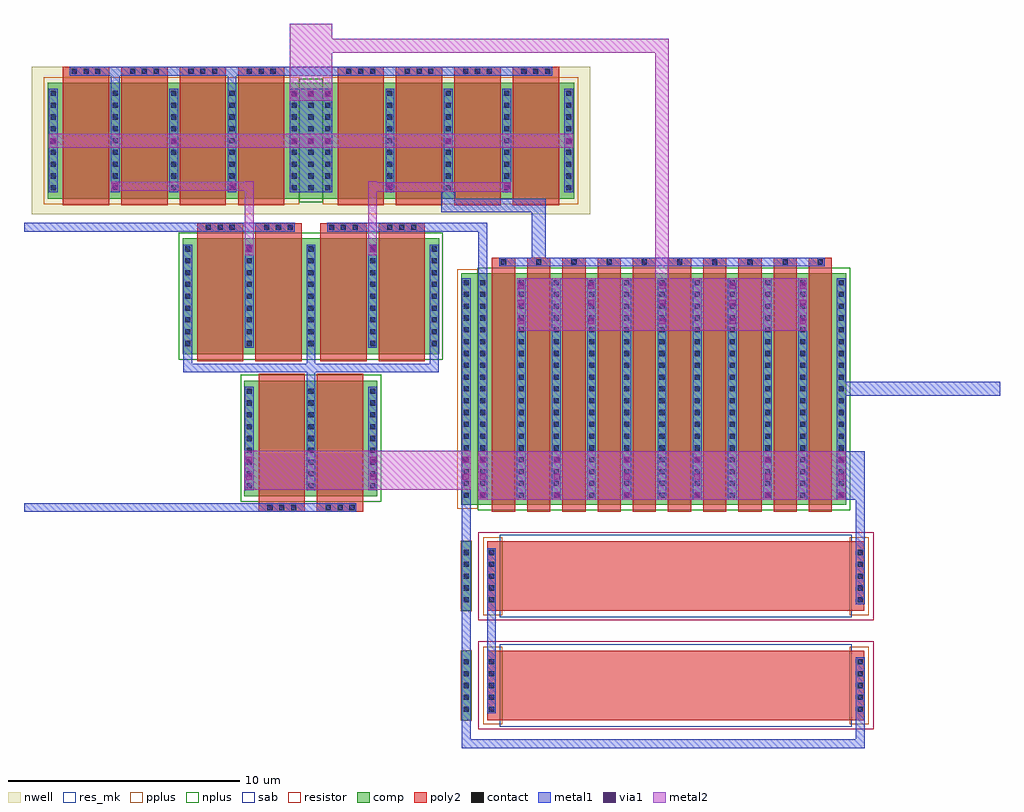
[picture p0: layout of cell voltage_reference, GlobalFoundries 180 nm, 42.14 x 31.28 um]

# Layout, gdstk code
from math import pi, radians
import gdstk
lib = gdstk.Library(unit=1e-6, precision=5e-09)
def R(c, l, rs):  # rectangles x0, y0, x1, y1
    for r in rs: c.add(gdstk.rectangle(r[:2], r[2:], *l))
def A(c, l, x, y, w, h, nx, ny, dx, dy):  # array of equal rectangles
    R(c, l, [(x+i*dx, y+j*dy, x+i*dx+w, y+j*dy+h) for i in range(nx) for j in range(ny)])
nwell = (21, 0)
comp = (22, 0)
poly2 = (30, 0)
pplus = (31, 0)
nplus = (32, 0)
contact = (33, 0)
metal1 = (34, 0)
via1 = (35, 0)
metal2 = (36, 0)
sab = (49, 0)
resistor = (62, 0)
res_mk = (110, 5)

nfet = lib.new_cell('nfet')
R(nfet, comp, [(-0.42,0,0,5), (0,0,4.9,5), (4.9,0,5.32,5)])
R(nfet, poly2, [(0.19,-0.3,2.19,5.3), (2.71,-0.3,4.71,5.3), (0.19,5.3,2.19,5.66), (2.71,5.3,4.71,5.66)])
R(nfet, nplus, [(-0.59,-0.24,5.49,5.24)])
A(nfet, contact, -0.32, 0.35, 0.22, 0.22, 3, 9, 2.66, 0.51)
A(nfet, contact, 0.57, 5.37, 0.22, 0.22, 3, 1, 0.51, 0)
A(nfet, contact, 3.09, 5.37, 0.22, 0.22, 3, 1, 0.51, 0)
A(nfet, metal1, -0.4, 0.27, 0.38, 4.46, 3, 1, 2.66, 0)
R(nfet, metal1, [(0.49,5.29,1.89,5.67), (3.01,5.29,4.41,5.67)])

pfet = lib.new_cell('pfet')
R(pfet, nwell, [(-1.15,-0.69,11.82,5.69)])
R(pfet, comp, [(-0.46,0,0,5), (0,0,9.94,5), (9.94,0,10.4,5), (10.4,0,11.13,5)])
A(pfet, poly2, 0.19, -0.3, 2, 5.6, 4, 1, 2.52, 0)
A(pfet, poly2, 0.19, 5.3, 2, 0.38, 4, 1, 2.52, 0)
R(pfet, pplus, [(-0.63,-0.24,10.4,5.24)])
R(pfet, nplus, [(10.4,-0.17,11.3,5.17)])
A(pfet, contact, -0.34, 0.35, 0.22, 0.22, 1, 9, 0, 0.51)
A(pfet, contact, 2.34, 0.35, 0.22, 0.22, 3, 9, 2.52, 0.51)
A(pfet, contact, 10.06, 0.35, 0.22, 0.22, 1, 9, 0, 0.51)
A(pfet, contact, 10.79, 0.35, 0.22, 0.22, 1, 9, 0, 0.51)
A(pfet, contact, 0.57, 5.38, 0.22, 0.22, 3, 1, 0.51, 0)
A(pfet, contact, 3.09, 5.38, 0.22, 0.22, 3, 1, 0.51, 0)
A(pfet, contact, 5.61, 5.38, 0.22, 0.22, 3, 1, 0.51, 0)
A(pfet, contact, 8.13, 5.38, 0.22, 0.22, 3, 1, 0.51, 0)
A(pfet, metal1, 2.26, 0.27, 0.38, 4.46, 3, 1, 2.52, 0)
A(pfet, metal1, 0.49, 5.3, 1.4, 0.38, 4, 1, 2.52, 0)
R(pfet, metal1, [(-0.42,0.27,-0.04,4.73), (9.98,0.27,10.36,4.73), (10.71,0.27,11.09,4.73)])

pfet_1 = lib.new_cell('pfet$1')
R(pfet_1, nwell, [(-1.15,-0.69,11.82,5.69)])
R(pfet_1, comp, [(-0.46,0,0,5), (0,0,9.94,5), (9.94,0,10.4,5), (10.4,0,11.13,5)])
A(pfet_1, poly2, 0.19, -0.68, 2, 0.38, 4, 1, 2.52, 0)
A(pfet_1, poly2, 0.19, -0.3, 2, 5.6, 4, 1, 2.52, 0)
R(pfet_1, pplus, [(-0.63,-0.24,10.4,5.24)])
R(pfet_1, nplus, [(10.4,-0.17,11.3,5.17)])
A(pfet_1, contact, 0.57, -0.6, 0.22, 0.22, 3, 1, 0.51, 0)
A(pfet_1, contact, 3.09, -0.6, 0.22, 0.22, 3, 1, 0.51, 0)
A(pfet_1, contact, 5.61, -0.6, 0.22, 0.22, 3, 1, 0.51, 0)
A(pfet_1, contact, 8.13, -0.6, 0.22, 0.22, 3, 1, 0.51, 0)
A(pfet_1, contact, -0.34, 0.35, 0.22, 0.22, 1, 9, 0, 0.51)
A(pfet_1, contact, 2.34, 0.35, 0.22, 0.22, 3, 9, 2.52, 0.51)
A(pfet_1, contact, 10.06, 0.35, 0.22, 0.22, 1, 9, 0, 0.51)
A(pfet_1, contact, 10.79, 0.35, 0.22, 0.22, 1, 9, 0, 0.51)
A(pfet_1, metal1, 0.49, -0.68, 1.4, 0.38, 4, 1, 2.52, 0)
A(pfet_1, metal1, 2.26, 0.27, 0.38, 4.46, 3, 1, 2.52, 0)
R(pfet_1, metal1, [(-0.42,0.27,-0.04,4.73), (9.98,0.27,10.36,4.73), (10.71,0.27,11.09,4.73)])

nfet_3 = lib.new_cell('nfet$3')
R(nfet_3, comp, [(-0.42,0,0,10), (0,0,15.06,10), (15.06,0,15.48,10), (15.48,0,16.19,10)])
A(nfet_3, poly2, 0.19, -0.66, 1, 0.36, 10, 1, 1.52, 0)
A(nfet_3, poly2, 0.19, -0.3, 1, 10.6, 10, 1, 1.52, 0)
R(nfet_3, pplus, [(15.48,-0.17,16.36,10.17)])
R(nfet_3, nplus, [(-0.59,-0.24,15.48,10.24)])
A(nfet_3, contact, 0.58, -0.59, 0.22, 0.22, 10, 1, 1.52, 0)
A(nfet_3, contact, -0.32, 0.3, 0.22, 0.22, 1, 19, 0, 0.51)
A(nfet_3, contact, 1.34, 0.3, 0.22, 0.22, 9, 19, 1.52, 0.51)
A(nfet_3, contact, 15.16, 0.3, 0.22, 0.22, 1, 19, 0, 0.51)
A(nfet_3, contact, 15.87, 0.3, 0.22, 0.22, 1, 19, 0, 0.51)
A(nfet_3, metal1, 0.5, -0.67, 0.38, 0.38, 10, 1, 1.52, 0)
A(nfet_3, metal1, 1.26, 0.22, 0.38, 9.56, 9, 1, 1.52, 0)
R(nfet_3, metal1, [(-0.4,0.22,-0.02,9.78), (15.08,0.22,15.46,9.78), (15.79,0.22,16.17,9.78)])

nfet_1 = lib.new_cell('nfet$1')
R(nfet_1, comp, [(-0.42,0,0,5), (0,0,4.9,5), (4.9,0,5.32,5)])
R(nfet_1, poly2, [(0.19,-0.66,2.19,-0.3), (2.71,-0.66,4.71,-0.3), (0.19,-0.3,2.19,5.3), (2.71,-0.3,4.71,5.3)])
R(nfet_1, nplus, [(-0.59,-0.24,5.49,5.24)])
A(nfet_1, contact, 0.57, -0.59, 0.22, 0.22, 3, 1, 0.51, 0)
A(nfet_1, contact, 3.09, -0.59, 0.22, 0.22, 3, 1, 0.51, 0)
A(nfet_1, contact, -0.32, 0.35, 0.22, 0.22, 3, 9, 2.66, 0.51)
A(nfet_1, metal1, -0.4, 0.27, 0.38, 4.46, 3, 1, 2.66, 0)
R(nfet_1, metal1, [(0.49,-0.67,1.89,-0.29), (3.01,-0.67,4.41,-0.29)])

ppolyf_u_high_rs_resisto = lib.new_cell('ppolyf_u_high_Rs_resistor')
R(ppolyf_u_high_rs_resisto, comp, [(-1.76,0,-1.34,3)])
R(ppolyf_u_high_rs_resisto, poly2, [(-0.64,0,15.64,3)])
R(ppolyf_u_high_rs_resisto, pplus, [(-0.82,-0.18,0,3.18), (15,-0.18,15.82,3.18), (-1.78,-0.02,-1.32,3.02)])
A(ppolyf_u_high_rs_resisto, contact, -1.66, 0.37, 0.22, 0.22, 1, 5, 0, 0.51)
A(ppolyf_u_high_rs_resisto, contact, -0.57, 0.37, 0.22, 0.22, 1, 5, 0, 0.51)
A(ppolyf_u_high_rs_resisto, contact, 15.35, 0.37, 0.22, 0.22, 1, 5, 0, 0.51)
R(ppolyf_u_high_rs_resisto, metal1, [(-1.74,0.29,-1.36,2.71), (-0.65,0.29,-0.27,2.71), (15.27,0.29,15.65,2.71)])
R(ppolyf_u_high_rs_resisto, sab, [(-0.1,-0.28,15.1,3.28)])
R(ppolyf_u_high_rs_resisto, resistor, [(-1.04,-0.4,16.04,3.4)])
R(ppolyf_u_high_rs_resisto, res_mk, [(0,0,15,3)])

voltage_reference = lib.new_cell('voltage_reference')
R(voltage_reference, metal1, [(13.75,-8.525,14.13,0.71), (14.84,-8.525,15.22,-1.385), (30.76,-1.385,31.14,2.8), (5.275,0.18,9.195,0.56), (30.32,0.71,30.76,2.805), (15.36,10.78,29.42,11.16), (2.615,12.28,6.535,12.66), (7.935,12.28,11.855,12.66), (6.315,13.98,8.155,18.44), (-3.175,19.01,17.645,19.39)])
A(voltage_reference, via1, 22.27, 8.285, 0.26, 0.26, 3, 2, 3.035, 0.8)
A(voltage_reference, via1, 22.27, 9.815, 0.26, 0.26, 3, 1, 3.035, 0)
R(voltage_reference, via1, [(14.53,0.77,14.79,1.03), (17.71,0.77,17.97,1.03), (20.735,0.77,20.995,1.03), (23.775,0.77,24.035,1.03), (26.825,0.77,27.085,1.03), (30.005,0.77,30.265,1.03), (4.445,1.57,4.705,1.83), (9.765,1.57,10.025,1.83), (13.79,1.57,14.05,1.83), (14.53,1.57,14.79,1.83), (17.71,1.57,17.97,1.83), (20.735,1.57,20.995,1.83), (23.775,1.57,24.035,1.83), (26.825,1.57,27.085,1.83), (30.005,1.57,30.265,1.83), (4.445,2.3,4.705,2.56), (9.765,2.3,10.025,2.56), (13.79,2.3,14.05,2.56), (14.53,2.3,14.79,2.56), (17.71,2.3,17.97,2.56), (20.735,2.3,20.995,2.56), (23.775,2.3,24.035,2.56), (26.825,2.3,27.085,2.56), (30.005,2.3,30.265,2.56), (16.175,8.285,16.435,8.545), (19.21,8.285,19.47,8.545), (16.175,9.085,16.435,9.345), (19.21,9.085,19.47,9.345), (16.175,9.815,16.435,10.075), (19.21,9.815,19.47,10.075), (4.445,11.4,4.705,11.66), (9.77,11.4,10.03,11.66), (-1.35,14.105,-1.09,14.365), (3.715,14.105,3.975,14.365), (10.515,14.115,10.775,14.375), (15.58,14.115,15.84,14.375), (-4.03,16.055,-3.77,16.315), (1.175,16.055,1.435,16.315), (6.375,16.055,6.635,16.315), (7.105,16.055,7.365,16.315), (7.84,16.055,8.1,16.315), (13.035,16.055,13.295,16.315), (18.24,16.055,18.5,16.315), (6.375,18.105,6.635,18.365), (7.105,18.105,7.365,18.365), (7.84,18.105,8.1,18.365)])
R(voltage_reference, metal2, [(14.46,0.71,30.32,2.805), (4.365,1.125,14.13,2.81), (16.12,8,28.66,10.27), (4.385,11.25,4.765,14.455), (9.705,11.25,10.085,14.455), (6.315,17.94,8.155,21.255)])
voltage_reference.add(gdstk.FlexPath([(1.915,7.26),(1.915,6.395),(12.555,6.395),(12.555,7.26)], 0.38, ends="flush", simple_path=True, layer=34, datatype=0))  # metal1
voltage_reference.add(gdstk.FlexPath([(7.235,7.26),(7.235,6.585)], 0.38, ends="flush", simple_path=True, layer=34, datatype=0))  # metal1
voltage_reference.add(gdstk.FlexPath([(7.235,5.58),(7.235,6.205)], 0.38, ends="flush", simple_path=True, layer=34, datatype=0))  # metal1
voltage_reference.add(gdstk.FlexPath([(-1.215,18.44),(-1.215,19.01)], 0.38, ends="flush", simple_path=True, layer=34, datatype=0))  # metal1
voltage_reference.add(gdstk.FlexPath([(3.825,18.44),(3.825,19.01)], 0.38, ends="flush", simple_path=True, layer=34, datatype=0))  # metal1
voltage_reference.add(gdstk.FlexPath([(11.855,12.47),(14.65,12.47),(14.65,10.27)], 0.38, ends="flush", simple_path=True, layer=34, datatype=0))  # metal1
voltage_reference.add(gdstk.FlexPath([(13.165,13.98),(13.165,13.41),(17.07,13.41),(17.07,11.15)], 0.6, ends="flush", simple_path=True, layer=34, datatype=0))  # metal1
voltage_reference.add(gdstk.FlexPath([(5.275,0.37),(-5.15,0.37)], 0.38, ends="flush", simple_path=True, layer=34, datatype=0))  # metal1
voltage_reference.add(gdstk.FlexPath([(2.615,12.47),(-5.155,12.47)], 0.38, ends="flush", simple_path=True, layer=34, datatype=0))  # metal1
voltage_reference.add(gdstk.FlexPath([(30.32,5.49),(36.985,5.49)], 0.6, ends="flush", simple_path=True, layer=34, datatype=0))  # metal1
voltage_reference.add(gdstk.FlexPath([(30.95,-8.525),(30.95,-9.835),(13.94,-9.835),(13.94,-8.525)], 0.38, ends="flush", simple_path=True, layer=34, datatype=0))  # metal1
voltage_reference.add(gdstk.FlexPath([(4.385,14.235),(-1.405,14.235)], 0.4, ends="flush", simple_path=True, layer=36, datatype=0))  # metal2
voltage_reference.add(gdstk.FlexPath([(10.085,14.21),(15.875,14.21)], 0.4, ends="flush", simple_path=True, layer=36, datatype=0))  # metal2
voltage_reference.add(gdstk.FlexPath([(-4.085,16.21),(18.555,16.21)], 0.6, ends="flush", simple_path=True, layer=36, datatype=0))  # metal2
voltage_reference.add(gdstk.FlexPath([(22.39,10.27),(22.39,20.305),(8.155,20.305)], 0.6, ends="flush", simple_path=True, layer=36, datatype=0))  # metal2
voltage_reference.add(gdstk.Reference(nfet, (2.125,6.99)))
voltage_reference.add(gdstk.Reference(nfet, (7.445,6.99)))
voltage_reference.add(gdstk.Reference(pfet, (-3.665,13.71)))
voltage_reference.add(gdstk.Reference(pfet_1, (18.135,18.71), rotation=pi))
voltage_reference.add(gdstk.Reference(nfet_3, (29.92,10.49), rotation=pi))
voltage_reference.add(gdstk.Reference(nfet_1, (4.785,0.85)))
voltage_reference.add(gdstk.Reference(ppolyf_u_high_rs_resisto, (15.49,-4.095)))
voltage_reference.add(gdstk.Reference(ppolyf_u_high_rs_resisto, (15.49,-8.815)))

lib.write_gds('voltage_reference.gds')
